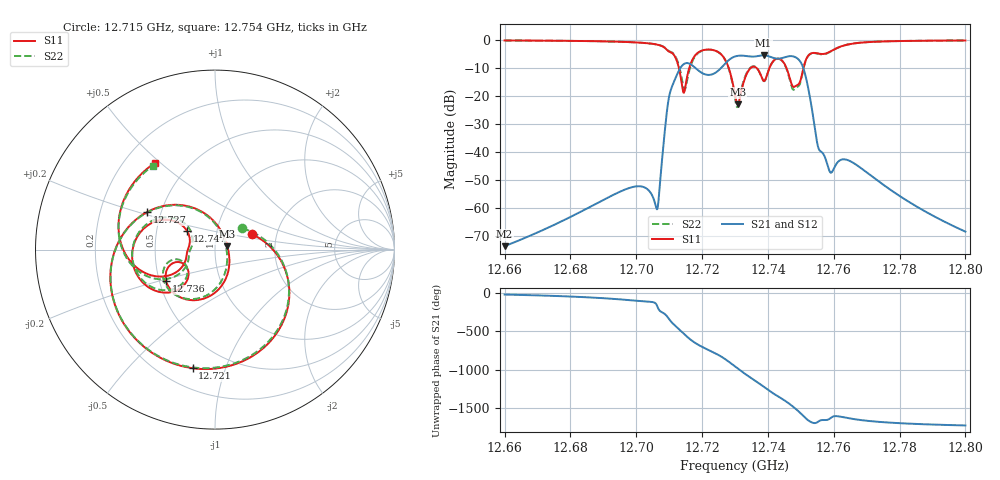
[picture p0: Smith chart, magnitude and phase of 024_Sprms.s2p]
! TOUCHSTONE file generated by CST MICROWAVE STUDIO
! Date and time: Wed Jul 31 11:50:13 2024
! Project name: WaveGuide_BPF-Ver4.1_U-shape_Ku_T3_C4_CWA_2.cst
! Parameters = {cavity_h=16; cavity_l0=10; cavity_l1=15.212; cavity_l2=16.8155; cavity_l3=17.0981; cavity_l4=17.2653; cavity_l5=17.1137; cavity_l6=17.6101; cavity_r=2.5; cavity_screw_l=0.5; cavity_screw_r=1.5; cavity_w=8; iris_h00=0; iris_h01=8.8088; iris_h112=0; iris_h12=5.6024; iris_h211=3.6637; i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
! Header version: 2018
! Port assignment regex: !\s*Touchstone port\s*([0-9]+)\s*=\s*(CST MWS port|CST DS port)\s*([0-9]+|Zmin|Zmax)\s*\(\"(.*)\"\)(\s*mode\s*([0-9]+))?.*
! Touchstone port assignment:
! Touchstone port 1 = CST MWS port 1 ("")
! Touchstone port 2 = CST MWS port 2 ("")
# GHz S RI R 50
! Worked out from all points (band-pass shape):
!   5001 points, 12.66 GHz to 12.8 GHz, reference 50 ohm
!   highest |S21| = -5.47 dB at 12.739 GHz (marker M1); lowest = -73.6 dB at 12.66 GHz (marker M2)
!   |S21| within 3 dB of the highest: 12.71463 GHz to 12.7162 GHz (1.57 MHz wide, 0.0123 % of centre); 12.72699 GHz to 12.75021 GHz (23.22 MHz wide, 0.182 % of centre)
!   lowest |S11| = -22.9 dB at 12.731 GHz (marker M3), VSWR 1.15, Z = 57.4 + j2.2 ohm
!   |S11| at or under -10 dB: 12.72809 GHz to 12.73477 GHz (6.679 MHz wide, 0.0525 % of centre); 12.73657 GHz to 12.74046 GHz (3.89 MHz wide, 0.0305 % of centre); 12.74563 GHz to 12.7508 GHz (5.163 MHz wide, 0.0405 % of centre)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
!   |S22| runs from -24.0 to -0.2 dB; largest |S21 - S12| = 1e-09
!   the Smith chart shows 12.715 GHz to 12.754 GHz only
!   S11 on the Smith chart (normalised r, x): 12.715 GHz: 1.49, +0.27; 12.721 GHz: 0.32, -0.78; 12.727 GHz: 0.42, +0.22; 12.736 GHz: 0.54, -0.21; 12.747 GHz: 0.72, +0.15; 12.754 GHz: 0.33, +0.48
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12.66  0.3268 0.9248  0.000192 -8.34e-05  0.000192 -8.34e-05  0.3335 0.9223
12.68335  0.7364 0.6159  0.000497 -0.000721  0.000497 -0.000721  0.7446 0.6053
12.70668  0.4622 -0.676  -0.00111 0.000509  -0.00111 0.000509  0.4391 -0.6924
12.71012  -0.027 -0.6148  0.1053 0.0178  0.1053 0.0178  -0.0531 -0.6269
12.7127  -0.3117 -0.1852  -0.0521 -0.2595  -0.0521 -0.2595  -0.3376 -0.203
12.71547  0.2063 0.0856  -0.3301 0.2031  -0.3301 0.2031  0.1512 0.1187
12.72121  -0.1245 -0.6608  0.239 -0.0308  0.239 -0.0308  -0.1149 -0.6575
12.72712  -0.3786 0.2092  -0.3121 -0.2244  -0.3121 -0.2244  -0.3767 0.2076
12.73  0.0361 0.1001  -0.2799 0.4236  -0.2799 0.4236  0.0396 0.0821
12.73081  0.0689 0.0191  -0.0645 0.517  -0.0645 0.517  0.0649 -0.00484
12.73358  -0.0134 -0.2495  0.5059 0.1018  0.5059 0.1018  -0.0492 -0.2559
12.73636  -0.2716 -0.1765  0.1905 -0.473  0.1905 -0.473  -0.2891 -0.1551
12.73868  -0.1649 -0.0879  -0.3989 -0.3535  -0.3989 -0.3535  -0.1692 -0.0767
12.74296  -0.4579 -0.0759  -0.0671 0.4598  -0.0671 0.4598  -0.4595 -0.0529
12.74688  -0.1546 0.1017  0.5032 -0.1148  0.5032 -0.1148  -0.1349 0.1029
12.75036  -0.2108 -0.1222  -0.2862 -0.2212  -0.2862 -0.2212  -0.1914 -0.1291
12.75335  -0.4879 0.3183  -0.0273 0.0533  -0.0273 0.0533  -0.4964 0.2937
12.75419  -0.3317 0.4851  -0.00914 0.027  -0.00914 0.027  -0.3453 0.4676
12.75892  0.6026 -0.1502  -0.0043 0.000703  -0.0043 0.000703  0.5929 -0.1678
12.76399  -0.0935 -0.8171  -0.00726 0.00047  -0.00726 0.00047  -0.1206 -0.8156
12.77668  -0.8892 -0.3288  -0.000974 0.00202  -0.000974 0.00202  -0.8953 -0.3144
12.8  -0.9452 0.2589  7.82e-05 0.000373  7.82e-05 0.000373  -0.9432 0.2669
